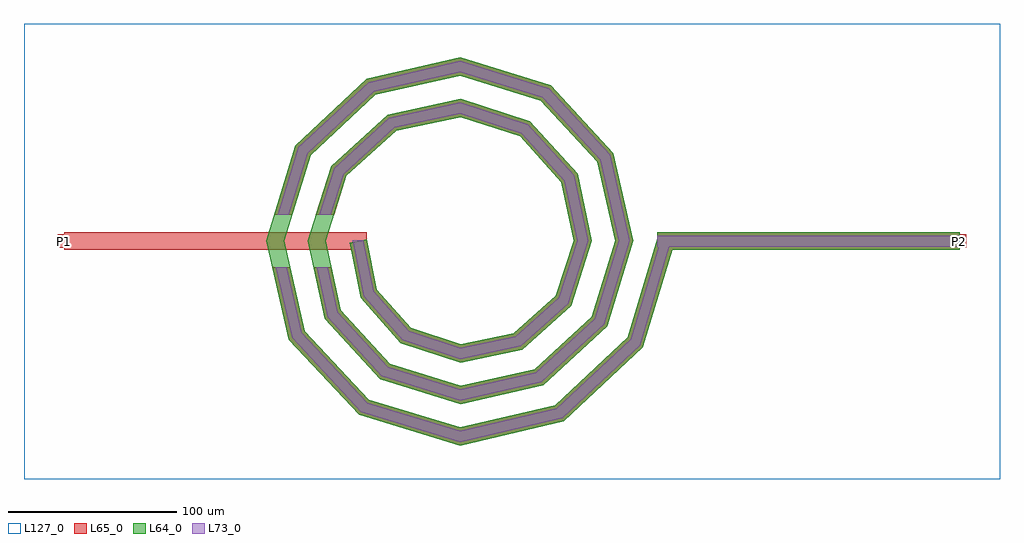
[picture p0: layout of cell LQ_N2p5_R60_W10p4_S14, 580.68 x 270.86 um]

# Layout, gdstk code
import gdstk
lib = gdstk.Library(unit=1e-6, precision=1e-09)
def R(c, l, rs):  # rectangles x0, y0, x1, y1
    for r in rs: c.add(gdstk.rectangle(r[:2], r[2:], *l))
def P(c, l, *ps):  # polygons
    for p in ps: c.add(gdstk.Polygon(p, *l))
L64_0 = (64, 0)
L65_0 = (65, 0)
L73_0 = (73, 0)
L127_0 = (127, 0)

lq_n2p5_r60_w10p4_s14 = lib.new_cell('LQ_N2p5_R60_W10p4_S14')
R(lq_n2p5_r60_w10p4_s14, L64_0, [(117.191,-5.2,297.191,5.2)])
P(lq_n2p5_r60_w10p4_s14, L64_0, [(-49.521,-28.971),(-29.438,-51.625),(0.309,-61.484),(32.029,-54.878),(56.954,-32.546),(67.653,0.283),(60.232,35.093),(35.651,62.285),(0.261,73.822),(-38.159,65.586),(-67.617,38.753),(-79.991,0.242),(-70.937,-41.228),(-41.852,-72.952),(0.226,-86.161),(44.3,-76.288),(78.287,-44.95),(92.33,0.211),(81.638,47.373),(48.046,83.624),(0.199,98.5),(-50.447,86.987),(-88.961,51.141),(-104.67,0.188),(-92.336,-53.523),(-54.235,-94.299),(0.178,-110.84),(56.599,-97.684),(99.638,-57.328),(117.413,1.504),(127.368,-1.504),(108.787,-63.006),(61.678,-107.179),(0.178,-121.602),(-59.929,-103.438),(-101.84,-58.584),(-115.431,0.188),(-98.089,56.853),(-55.49,96.501),(0.199,109.261),(53.778,92.74),(91.163,52.394),(103.09,0.211),(87.389,-50.704),(49.297,-85.826),(0.226,-96.92),(-47.631,-82.038),(-80.49,-46.198),(-90.749,0.242),(-76.686,44.561),(-43.097,75.155),(0.261,84.578),(41.492,71.331),(69.821,39.994),(78.407,0.283),(65.975,-38.427),(36.887,-64.489),(0.309,-72.236),(-35.365,-60.617),(-59.159,-33.776),(-65.786,-1.032),(-55.593,1.032)])
R(lq_n2p5_r60_w10p4_s14, L65_0, [(-235.49,-5.2,-55.49,5.2), (117.191,-5.2,297.191,5.2), (-239.49,-4,-231.49,4), (293.191,-4,301.191,4)])
P(lq_n2p5_r60_w10p4_s14, L65_0, [(-92.336,-53.523),(-54.235,-94.299),(0.178,-110.84),(56.599,-97.684),(99.638,-57.328),(117.413,1.504),(127.369,-1.504),(108.787,-63.006),(61.678,-107.179),(0.178,-121.602),(-59.929,-103.438),(-101.84,-58.584),(-111.78,-15.6),(-101.106,-15.6)],
  [(-70.937,-41.228),(-41.852,-72.952),(0.226,-86.161),(44.3,-76.288),(78.287,-44.95),(92.33,0.211),(81.638,47.373),(48.046,83.624),(0.199,98.5),(-50.447,86.987),(-88.961,51.141),(-99.838,15.6),(-110.714,15.6),(-98.089,56.853),(-55.49,96.501),(0.199,109.261),(53.778,92.74),(91.164,52.394),(103.09,0.211),(87.39,-50.704),(49.297,-85.826),(0.226,-96.92),(-47.631,-82.038),(-80.49,-46.198),(-87.249,-15.6),(-76.599,-15.6)],
  [(-29.438,-51.625),(0.309,-61.484),(32.029,-54.878),(56.954,-32.546),(67.653,0.283),(60.232,35.093),(35.651,62.285),(0.261,73.822),(-38.159,65.586),(-67.617,38.753),(-74.964,15.6),(-85.875,15.6),(-76.686,44.561),(-43.097,75.155),(0.261,84.578),(41.492,71.332),(69.821,39.994),(78.407,0.283),(65.976,-38.427),(36.887,-64.489),(0.309,-72.236),(-35.365,-60.617),(-59.159,-33.776),(-65.786,-1.032),(-55.593,1.032),(-49.521,-28.971)])
R(lq_n2p5_r60_w10p4_s14, L73_0, [(117.191,-3.2,297.191,3.2)])
P(lq_n2p5_r60_w10p4_s14, L73_0, [(-94.163,-54.496),(-55.33,-96.057),(0.109,-112.909),(57.576,-99.51),(101.397,-58.42),(119.328,0.926),(125.454,0.926),(107.027,-61.914),(60.701,-105.353),(0.109,-119.532),(-58.834,-101.681),(-100.012,-57.611),(-109.727,-15.6),(-103.158,-15.6)],
  [(-72.775,-42.184),(-42.964,-74.699),(0.139,-88.23),(45.261,-78.122),(80.038,-46.056),(94.4,0.13),(83.47,48.338),(49.148,85.377),(0.122,100.569),(-51.417,88.817),(-90.717,52.239),(-101.93,15.6),(-108.623,15.6),(-96.334,55.754),(-54.52,94.672),(0.122,107.191),(52.675,90.987),(89.332,51.429),(101.021,0.13),(85.639,-49.597),(48.336,-83.992),(0.139,-94.851),(-46.52,-80.291),(-78.653,-45.243),(-85.201,-15.6),(-78.647,-15.6)],
  [(-30.578,-53.354),(0.19,-63.552),(32.964,-56.726),(58.689,-33.677),(69.721,0.174),(62.076,36.035),(36.774,64.024),(0.16,75.89),(-39.109,67.426),(-69.361,39.87),(-77.063,15.6),(-83.777,15.6),(-74.942,43.444),(-42.148,73.315),(0.16,82.51),(40.369,69.592),(67.977,39.051),(76.339,0.174),(64.241,-37.296),(35.953,-62.641),(0.19,-70.168),(-34.225,-58.888),(-57.306,-32.852),(-63.826,0.635),(-57.553,0.635),(-51.374,-29.895)])
R(lq_n2p5_r60_w10p4_s14, L127_0, [(-259.49,-141.602,321.191,129.261)])
lq_n2p5_r60_w10p4_s14.add(gdstk.Label('P2', (297.191,0), layer=65, texttype=0))
lq_n2p5_r60_w10p4_s14.add(gdstk.Label('P1', (-235.49,0), layer=65, texttype=0))
lq_n2p5_r60_w10p4_s14.add(gdstk.Label('P2', (301.191,0), layer=145, texttype=0))
lq_n2p5_r60_w10p4_s14.add(gdstk.Label('P1', (-239.49,0), layer=145, texttype=0))

lib.write_gds('LQ_N2p5_R60_W10p4_S14.gds')
